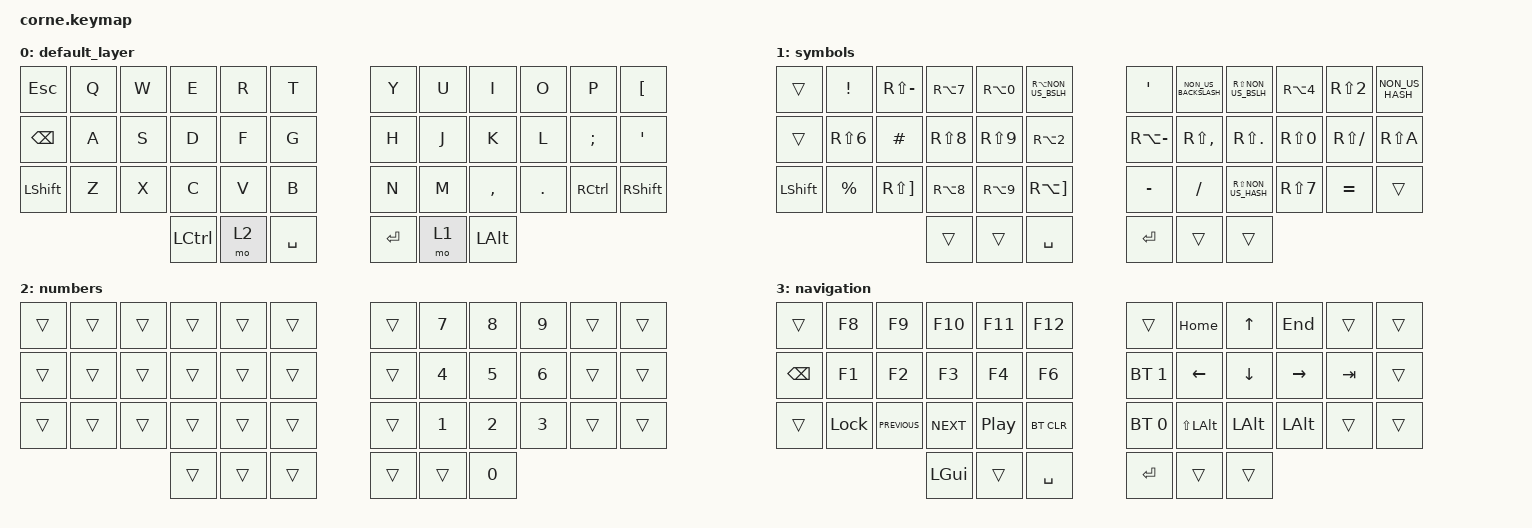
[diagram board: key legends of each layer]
/*
 * Copyright (c) 2020 The ZMK Contributors
 *
 * SPDX-License-Identifier: MIT
 */

#include <behaviors.dtsi>
#include <dt-bindings/zmk/bt.h>
#include <dt-bindings/zmk/keys.h>

/ {
    macros {
        Lock: new_macro {
            compatible = "zmk,behavior-macro";
            #binding-cells = <0>;
            bindings = <&sk LEFT_WIN &kp L>;
            label = "NEW_MACRO";
        };
    };

    keymap {
        compatible = "zmk,keymap";

        default_layer {
            // -----------------------------------------------------------------------------------------
            // |  TAB |  Q  |  W  |  E  |  R  |  T  |   |  Y  |  U   |  I  |  O  |  P  | BKSP |
            // | CTRL |  A  |  S  |  D  |  F  |  G  |   |  H  |  J   |  K  |  L  |  ;  |  '   |
            // | SHFT |  Z  |  X  |  C  |  V  |  B  |   |  N  |  M   |  ,  |  .  |  /  | ESC  |
            //                    | GUI | LWR | SPC |   | ENT | RSE  | ALT |

            bindings = <
&kp ESCAPE     &kp Q  &kp W  &kp E             &kp R  &kp T        &kp Y    &kp U  &kp I         &kp O    &kp P      &kp LEFT_BRACKET
&kp BACKSPACE  &kp A  &kp S  &kp D             &kp F  &kp G        &kp H    &kp J  &kp K         &kp L    &kp SEMI   &kp SQT
&kp LSHFT      &kp Z  &kp X  &kp C             &kp V  &kp B        &kp N    &kp M  &kp COMMA     &kp DOT  &kp RCTRL  &kp RIGHT_SHIFT
                             &kp LEFT_CONTROL  &mo 2  &kp SPACE    &kp RET  &mo 1  &kp LEFT_ALT
            >;
        };

        symbols {
            // -----------------------------------------------------------------------------------------
            // |  TAB |  1  |  2  |  3  |  4  |  5  |   |  6  |  7  |  8  |  9  |  0  | BKSP |
            // | BTCLR| BT1 | BT2 | BT3 | BT4 | BT5 |   | LFT | DWN |  UP | RGT |     |      |
            // | SHFT |     |     |     |     |     |   |     |     |     |     |     |      |
            //                    | GUI |     | SPC |   | ENT |     | ALT |

            bindings = <
&trans     &kp EXCLAMATION   &kp RS(MINUS)          &kp RA(N7)  &kp RA(N0)  &kp RA(NON_US_BSLH)      &kp SQT        &kp NON_US_BACKSLASH  &kp RS(NON_US_BSLH)  &kp RA(NUMBER_4)  &kp RS(NUMBER_2)  &kp NON_US_HASH
&trans     &kp RS(NUMBER_6)  &kp HASH               &kp RS(N8)  &kp RS(N9)  &kp RA(NUMBER_2)         &kp RA(MINUS)  &kp RS(COMMA)         &kp RS(PERIOD)       &kp RS(N0)        &kp RS(SLASH)     &kp RS(A)
&kp LSHFT  &kp PERCENT       &kp RS(RIGHT_BRACKET)  &kp RA(N8)  &kp RA(N9)  &kp RA(RIGHT_BRACKET)    &kp MINUS      &kp SLASH             &kp RS(NON_US_HASH)  &kp RS(N7)        &kp EQUAL         &trans
                                                    &trans      &trans      &kp SPACE                &kp RET        &trans                &trans
            >;
        };

        numbers {
            bindings = <
&trans  &trans  &trans  &trans  &trans  &trans    &trans  &kp N7  &kp N8  &kp N9  &trans  &trans
&trans  &trans  &trans  &trans  &trans  &trans    &trans  &kp N4  &kp N5  &kp N6  &trans  &trans
&trans  &trans  &trans  &trans  &trans  &trans    &trans  &kp N1  &kp N2  &kp N3  &trans  &trans
                        &trans  &trans  &trans    &trans  &trans  &kp N0
            >;
        };

        navigation {
            // -----------------------------------------------------------------------------------------
            // |  TAB |  !  |  @  |  #  |  $  |  %  |   |  ^  |  &  |  *  |  (  |  )  | BKSP |
            // | CTRL |     |     |     |     |     |   |  -  |  =  |  [  |  ]  |  \  |  `   |
            // | SHFT |     |     |     |     |     |   |  _  |  +  |  {  |  }  | "|" |  ~   |
            //                    | GUI |     | SPC |   | ENT |     | ALT |

            bindings = <
&trans    &kp F8  &kp F9          &kp F10     &kp F11           &kp F12       &trans        &kp HOME          &kp UP_ARROW  &kp END          &trans   &trans
&kp BSPC  &kp F1  &kp F2          &kp F3      &kp F4            &kp F6        &bt BT_SEL 1  &kp LEFT          &kp DOWN      &kp RIGHT_ARROW  &kp TAB  &trans
&trans    &Lock   &kp C_PREVIOUS  &kp C_NEXT  &kp C_PLAY_PAUSE  &bt BT_CLR    &bt BT_SEL 0  &kp LS(LEFT_ALT)  &kp LALT      &kp LALT         &trans   &trans
                                  &kp LGUI    &trans            &kp SPACE     &kp RET       &trans            &trans
            >;
        };
    };

    conditional_layers {
        compatible = "zmk,conditional-layers";

        SymbolsAndNumbers {
            if-layers = <1 2>;
            then-layer = <3>;
        };
    };
};
